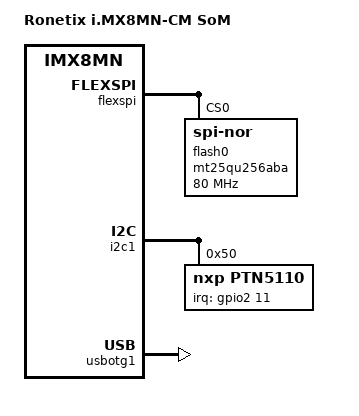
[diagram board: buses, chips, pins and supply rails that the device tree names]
// SPDX-License-Identifier: GPL-2.0+
/*
 * Copyright 2019 NXP
 */

/dts-v1/;

#include <dt-bindings/usb/pd.h>
#include "imx8mn.dtsi"
#include "imx8mn-ronetix.dtsi"

/ {
	model = "Ronetix i.MX8MN-CM SoM";
	compatible = "ronetix,imx8mn-cm", "fsl,imx8mn";
};

&flexspi {
	flash0: mt25qu256aba@0 {
		reg = <0>;
		compatible = "jedec,spi-nor";
		spi-max-frequency = <80000000>;
		spi-tx-bus-width = <4>;
		spi-rx-bus-width = <4>;
	};
};

&i2c1 {
	ptn5110: tcpc@50 {
		compatible = "nxp,ptn5110";
		pinctrl-names = "default";
		pinctrl-0 = <&pinctrl_typec1>;
		reg = <0x50>;
		interrupt-parent = <&gpio2>;
		interrupts = <11 8>;
		status = "okay";

		typec1_con: connector {
			compatible = "usb-c-connector";
			label = "USB-C";
			power-role = "dual";
			data-role = "dual";
			try-power-role = "sink";
			source-pdos = <PDO_FIXED(5000, 3000, PDO_FIXED_USB_COMM)>;
			sink-pdos = <PDO_FIXED(5000, 3000, PDO_FIXED_USB_COMM)
				     PDO_VAR(5000, 20000, 3000)>;
			op-sink-microwatt = <15000000>;
			self-powered;
		};
	};
};

&usbotg1 {
	status = "okay";
	extcon = <&ptn5110>;
};

&iomuxc {
	pinctrl_typec1: typec1grp {
		fsl,pins = <
			MX8MN_IOMUXC_SD1_STROBE_GPIO2_IO11	0x159	/* TCPC_nINT */
		>;
	};
};
